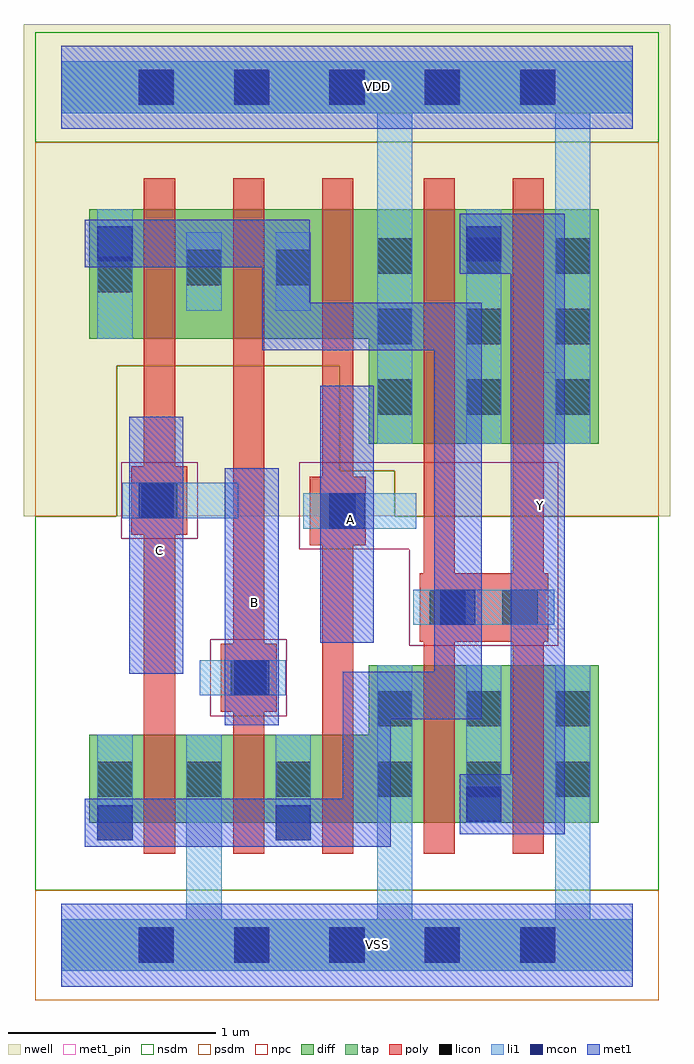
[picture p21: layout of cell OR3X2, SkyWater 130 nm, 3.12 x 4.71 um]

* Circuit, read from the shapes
.subckt OR3X2 A B C VDD VSS Y
XM1 VSS C n1 VSS sky130_fd_pr__nfet_01v8 w=0.425 l=0.15
XM2 n1 B VSS VSS sky130_fd_pr__nfet_01v8 w=0.425 l=0.15
XM3 VSS A n1 VSS sky130_fd_pr__nfet_01v8 w=0.425 l=0.15
XM4 Y n1 VSS VSS sky130_fd_pr__nfet_01v8 w=0.76 l=0.15 m=2
XM5 n2 C n1 VDD sky130_fd_pr__pfet_01v8 w=0.625 l=0.15
XM6 n3 B n2 VDD sky130_fd_pr__pfet_01v8 w=0.625 l=0.15
XM7 VDD A n3 VDD sky130_fd_pr__pfet_01v8 w=0.625 l=0.15
XM8 Y n1 VDD VDD sky130_fd_pr__pfet_01v8 w=1.13 l=0.15 m=2
.ends

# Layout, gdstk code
from math import pi, radians
import gdstk
lib = gdstk.Library(unit=1e-6, precision=1e-09)
def R(c, l, rs):  # rectangles x0, y0, x1, y1
    for r in rs: c.add(gdstk.rectangle(r[:2], r[2:], *l))
def A(c, l, x, y, w, h, nx, ny, dx, dy):  # array of equal rectangles
    R(c, l, [(x+i*dx, y+j*dy, x+i*dx+w, y+j*dy+h) for i in range(nx) for j in range(ny)])
def P(c, l, *ps):  # polygons
    for p in ps: c.add(gdstk.Polygon(p, *l))
nwell = (64, 20)
diff = (65, 20)
tap = (65, 44)
poly = (66, 20)
licon = (66, 44)
li1 = (67, 20)
mcon = (67, 44)
met1_pin = (68, 16)
met1 = (68, 20)
nsdm = (93, 44)
psdm = (94, 20)
npc = (95, 20)

l1m1_c_cdns_758728262102 = lib.new_cell('L1M1_C_CDNS_7587282621022')
R(l1m1_c_cdns_758728262102, li1, [(-0.085,-0.085,0.085,0.165)])
R(l1m1_c_cdns_758728262102, mcon, [(-0.085,-0.085,0.085,0.085)])
R(l1m1_c_cdns_758728262102, met1, [(-0.145,-0.115,0.145,0.115)])

l1m1_c_cdns_758728262100 = lib.new_cell('L1M1_C_CDNS_758728262100')
R(l1m1_c_cdns_758728262100, li1, [(-0.165,-0.085,0.165,0.085)])
R(l1m1_c_cdns_758728262100, mcon, [(-0.085,-0.085,0.085,0.085)])
R(l1m1_c_cdns_758728262100, met1, [(-0.115,-0.145,0.115,0.145)])

l1m1_c_cdns_758728262107 = lib.new_cell('L1M1_C_CDNS_758728262107')
R(l1m1_c_cdns_758728262107, li1, [(-0.085,-0.085,0.085,0.165)])
R(l1m1_c_cdns_758728262107, mcon, [(-0.085,-0.085,0.085,0.085)])
R(l1m1_c_cdns_758728262107, met1, [(-0.115,-0.145,0.115,0.145)])

licondiff_c_cdns_7587282 = lib.new_cell('LICONDIFF_C_CDNS_7587282621010')
R(licondiff_c_cdns_7587282, diff, [(-0.125,-0.145,0.125,0.145)])
R(licondiff_c_cdns_7587282, licon, [(-0.085,-0.085,0.085,0.085), (-0.085,-0.085,0.085,0.085)])

pyl1con_c_cdns_758728262 = lib.new_cell('PYL1CON_C_CDNS_758728262102')
R(pyl1con_c_cdns_758728262, poly, [(-0.135,-0.165,0.135,0.165)])
R(pyl1con_c_cdns_758728262, licon, [(-0.085,-0.085,0.085,0.085)])
R(pyl1con_c_cdns_758728262, npc, [(-0.185,-0.185,0.185,0.185)])

l1m1_c_cdns_758728262103 = lib.new_cell('L1M1_C_CDNS_758728262103')
R(l1m1_c_cdns_758728262103, li1, [(-0.085,-0.165,0.085,0.165)])
R(l1m1_c_cdns_758728262103, mcon, [(-0.085,-0.085,0.085,0.085)])
R(l1m1_c_cdns_758728262103, met1, [(-0.145,-0.115,0.145,0.115)])

l1m1_c_cdns_758728262101 = lib.new_cell('L1M1_C_CDNS_758728262101')
R(l1m1_c_cdns_758728262101, li1, [(-0.085,-0.165,0.085,0.165)])
R(l1m1_c_cdns_758728262101, mcon, [(-0.085,-0.085,0.085,0.085)])
R(l1m1_c_cdns_758728262101, met1, [(-0.115,-0.145,0.115,0.145)])

or3x2 = lib.new_cell('OR3X2')
R(or3x2, nwell, [(-0.18,2.07,2.94,4.445)])
P(or3x2, diff, [(2.595,3.55),(0.135,3.55),(0.135,2.925),(1.485,2.925),(1.485,2.42),(2.595,2.42)],
  [(2.595,1.35),(1.485,1.35),(1.485,1.015),(0.135,1.015),(0.135,0.59),(2.595,0.59)])
A(or3x2, poly, 0.4, 0.44, 0.15, 3.26, 3, 1, 0.43, 0)
P(or3x2, poly, [(2.35,1.795),(2.33,1.795),(2.33,3.7),(2.18,3.7),(2.18,1.795),(1.9,1.795),(1.9,3.7),(1.75,3.7),(1.75,1.795),(1.73,1.795),(1.73,1.465),(1.75,1.465),(1.75,0.44),(1.9,0.44),(1.9,1.465),(2.18,1.465),(2.18,0.44),(2.33,0.44),(2.33,1.465),(2.35,1.465)])
A(or3x2, licon, 0.375, -0.085, 0.17, 0.17, 5, 2, 0.46, 4.14)
A(or3x2, licon, 0.175, 0.715, 0.17, 0.17, 3, 1, 0.43, 0)
A(or3x2, licon, 1.525, 0.715, 0.17, 0.17, 3, 2, 0.43, 0.34)
A(or3x2, licon, 1.525, 2.56, 0.17, 0.17, 3, 3, 0.43, 0.34)
R(or3x2, licon, [(0.175,3.15,0.345,3.32)])
R(or3x2, li1, [(0.175,0.59,0.345,1.015), (1.035,0.59,1.205,1.015), (1.955,0.59,2.125,1.35), (1.955,2.42,2.125,3.55), (0.175,2.925,0.345,3.55)])
P(or3x2, li1, [(2.76,4.265),(0,4.265),(0,4.015),(1.525,4.015),(1.525,2.42),(1.695,2.42),(1.695,4.015),(2.385,4.015),(2.385,2.42),(2.555,2.42),(2.555,4.015),(2.76,4.015)],
  [(2.76,0.125),(2.555,0.125),(2.555,1.35),(2.385,1.35),(2.385,0.125),(1.695,0.125),(1.695,1.35),(1.525,1.35),(1.525,0.125),(0.775,0.125),(0.775,1.015),(0.605,1.015),(0.605,0.125),(0,0.125),(0,-0.125),(2.76,-0.125)])
A(or3x2, mcon, 0.375, -0.085, 0.17, 0.17, 5, 2, 0.46, 4.14)
R(or3x2, met1_pin, [(0,-0.2,2.76,0.2), (0.79,1.06,1.05,2.3), (0.33,1.31,0.59,2.55), (1.25,1.46,1.51,2.7), (2.17,1.525,2.43,2.765), (0,3.94,2.76,4.34)])
P(or3x2, met1, [(2.03,3.1),(1.2,3.1),(1.2,3.5),(0.275,3.5),(0.275,3.27),(0.97,3.27),(0.97,2.87),(1.8,2.87),(1.8,1.32),(1.36,1.32),(1.36,0.705),(0.26,0.705),(0.26,0.475),(1.59,0.475),(1.59,1.09),(2.03,1.09)],
  [(2.43,3.53),(2.04,3.53),(2.04,3.24),(2.17,3.24),(2.17,0.825),(2.01,0.825),(2.01,0.535),(2.43,0.535)])
R(or3x2, nsdm, [(-0.125,3.875,2.885,4.405)])
P(or3x2, nsdm, [(2.885,2.07),(1.61,2.07),(1.61,2.29),(1.345,2.29),(1.345,2.795),(0.27,2.795),(0.27,2.07),(-0.125,2.07),(-0.125,0.265),(2.885,0.265)])
R(or3x2, psdm, [(-0.125,-0.265,2.885,0.265)])
P(or3x2, psdm, [(2.885,3.875),(-0.125,3.875),(-0.125,2.07),(0.27,2.07),(0.27,2.795),(1.345,2.795),(1.345,2.29),(1.61,2.29),(1.61,2.07),(2.885,2.07)])
P(or3x2, npc, [(2.4,2.33),(1.15,2.33),(1.15,1.91),(1.68,1.91),(1.68,1.445),(2.4,1.445)])
or3x2.add(gdstk.FlexPath([(1.12,3.06),(1.12,3.44)], 0.17, ends="flush", simple_path=True, layer=67, datatype=20))  # li1
or3x2.add(gdstk.FlexPath([(0.74,1.29),(1.085,1.29)], 0.17, ends=(0.07, 0), simple_path=True, layer=67, datatype=20))  # li1
or3x2.add(gdstk.FlexPath([(1.17,2.095),(1.715,2.095)], 0.17, ends="flush", simple_path=True, layer=67, datatype=20))  # li1
or3x2.add(gdstk.FlexPath([(0.69,3.06),(0.69,3.44)], 0.17, ends="flush", simple_path=True, layer=67, datatype=20))  # li1
or3x2.add(gdstk.FlexPath([(0.31,2.145),(0.855,2.145)], 0.17, ends="flush", simple_path=True, layer=67, datatype=20))  # li1
or3x2.add(gdstk.FlexPath([(1.7,1.63),(2.38,1.63)], 0.17, ends="flush", simple_path=True, layer=67, datatype=20))  # li1
or3x2.add(gdstk.FlexPath([(0,4.14),(2.76,4.14)], 0.25, ends="flush", simple_path=True, layer=65, datatype=44))  # tap
or3x2.add(gdstk.FlexPath([(0,0),(2.76,0)], 0.25, ends="flush", simple_path=True, layer=65, datatype=44))  # tap
or3x2.add(gdstk.FlexPath([(0.92,1.06),(0.92,2.3)], 0.26, ends="flush", simple_path=True, layer=68, datatype=20))  # met1
or3x2.add(gdstk.FlexPath([(0.46,1.31),(0.46,2.55)], 0.26, ends="flush", simple_path=True, layer=68, datatype=20))  # met1
or3x2.add(gdstk.FlexPath([(1.38,1.46),(1.38,2.7)], 0.26, ends="flush", simple_path=True, layer=68, datatype=20))  # met1
or3x2.add(gdstk.FlexPath([(0,0),(2.76,0)], 0.4, ends="flush", simple_path=True, layer=68, datatype=20))  # met1
or3x2.add(gdstk.FlexPath([(0,4.14),(2.76,4.14)], 0.4, ends="flush", simple_path=True, layer=68, datatype=20))  # met1
or3x2.add(gdstk.Reference(l1m1_c_cdns_758728262102, (0.26,0.59)))
or3x2.add(gdstk.Reference(l1m1_c_cdns_758728262102, (1.12,0.59)))
or3x2.add(gdstk.Reference(l1m1_c_cdns_758728262100, (1.915,1.63)))
or3x2.add(gdstk.Reference(l1m1_c_cdns_758728262100, (0.46,2.145), x_reflection=True))
or3x2.add(gdstk.Reference(l1m1_c_cdns_758728262100, (0.92,1.29), x_reflection=True))
or3x2.add(gdstk.Reference(l1m1_c_cdns_758728262100, (1.38,2.095), x_reflection=True))
or3x2.add(gdstk.Reference(l1m1_c_cdns_758728262107, (2.04,0.68)))
or3x2.add(gdstk.Reference(licondiff_c_cdns_7587282, (1.12,3.27)))
or3x2.add(gdstk.Reference(licondiff_c_cdns_7587282, (0.69,3.27)))
or3x2.add(gdstk.Reference(pyl1con_c_cdns_758728262, (1.865,1.63), rotation=pi, x_reflection=True))
or3x2.add(gdstk.Reference(pyl1con_c_cdns_758728262, (0.475,2.145), x_reflection=True))
or3x2.add(gdstk.Reference(pyl1con_c_cdns_758728262, (0.905,1.29), x_reflection=True))
or3x2.add(gdstk.Reference(pyl1con_c_cdns_758728262, (1.335,2.095), x_reflection=True))
or3x2.add(gdstk.Reference(pyl1con_c_cdns_758728262, (2.215,1.63), rotation=pi, x_reflection=True))
or3x2.add(gdstk.Reference(l1m1_c_cdns_758728262103, (0.26,3.385)))
or3x2.add(gdstk.Reference(l1m1_c_cdns_758728262101, (2.04,3.385)))
or3x2.add(gdstk.Label('A', (1.395,2.055), layer=68, texttype=5))
or3x2.add(gdstk.Label('B', (0.935,1.655), layer=68, texttype=5))
or3x2.add(gdstk.Label('C', (0.475,1.905), layer=68, texttype=5))
or3x2.add(gdstk.Label('Y', (2.315,2.12), layer=68, texttype=5))
or3x2.add(gdstk.Label('VSS', (1.525,0.005), layer=68, texttype=5))
or3x2.add(gdstk.Label('VDD', (1.525,4.145), layer=68, texttype=5))
or3x2.add(gdstk.Label('VDD', (1.525,4.145), layer=68, texttype=5))

lib.write_gds('OR3X2.gds')
